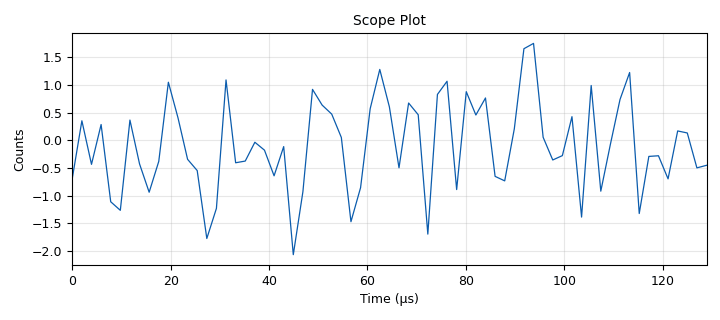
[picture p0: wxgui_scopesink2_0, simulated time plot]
<?xml version='1.0' encoding='utf-8'?>
<?grc format='1' created='3.7.11'?>
<flow_graph>
<block>
<key>options</key>
<param><key>id</key><value>top_block</value></param>
<param><key>generate_options</key><value>wx_gui</value></param>
</block>
<block>
<key>variable_slider</key>
<param><key>id</key><value>Am_s</value></param>
<param><key>converver</key><value>float_converter</value></param>
<param><key>value</key><value>1.25893</value></param>
<param><key>label</key><value></value></param>
<param><key>max</key><value>50</value></param>
<param><key>min</key><value>0</value></param>
<param><key>num_steps</key><value>100</value></param>
<param><key>style</key><value>wx.SL_HORIZONTAL</value></param>
</block>
<block>
<key>variable</key>
<param><key>id</key><value>Am_sig</value></param>
<param><key>value</key><value>Am_s</value></param>
</block>
<block>
<key>variable</key>
<param><key>id</key><value>Ind</value></param>
<param><key>value</key><value>Ind_s</value></param>
</block>
<block>
<key>variable_chooser</key>
<param><key>id</key><value>Ind_s</value></param>
<param><key>choices</key><value>[0, 1]</value></param>
<param><key>value</key><value>0</value></param>
<param><key>label</key><value></value></param>
<param><key>labels</key><value>[]</value></param>
<param><key>style</key><value>wx.RA_HORIZONTAL</value></param>
<param><key>type</key><value>drop_down</value></param>
</block>
<block>
<key>variable</key>
<param><key>id</key><value>samp_rate</value></param>
<param><key>value</key><value>512000</value></param>
</block>
<block>
<key>analog_noise_source_x</key>
<param><key>id</key><value>analog_noise_source_x_0</value></param>
<param><key>amp</key><value>1</value></param>
<param><key>noise_type</key><value>analog.GR_GAUSSIAN</value></param>
<param><key>type</key><value>float</value></param>
<param><key>seed</key><value>0</value></param>
</block>
<block>
<key>analog_sig_source_x</key>
<param><key>id</key><value>analog_sig_source_x_0</value></param>
<param><key>amp</key><value>1</value></param>
<param><key>freq</key><value>30000</value></param>
<param><key>offset</key><value>0</value></param>
<param><key>type</key><value>float</value></param>
<param><key>samp_rate</key><value>samp_rate</value></param>
<param><key>waveform</key><value>analog.GR_COS_WAVE</value></param>
</block>
<block>
<key>analog_sig_source_x</key>
<param><key>id</key><value>analog_sig_source_x_0_0</value></param>
<param><key>amp</key><value>1</value></param>
<param><key>freq</key><value>1000</value></param>
<param><key>offset</key><value>0</value></param>
<param><key>type</key><value>float</value></param>
<param><key>samp_rate</key><value>samp_rate</value></param>
<param><key>waveform</key><value>analog.GR_COS_WAVE</value></param>
</block>
<block>
<key>blks2_selector</key>
<param><key>id</key><value>blks2_selector_0</value></param>
<param><key>input_index</key><value>Ind</value></param>
<param><key>num_inputs</key><value>2</value></param>
<param><key>num_outputs</key><value>1</value></param>
<param><key>output_index</key><value>0</value></param>
<param><key>type</key><value>float</value></param>
<param><key>vlen</key><value>1</value></param>
</block>
<block>
<key>blocks_add_const_vxx</key>
<param><key>id</key><value>blocks_add_const_vxx_0</value></param>
<param><key>const</key><value>1</value></param>
<param><key>type</key><value>float</value></param>
</block>
<block>
<key>blocks_add_xx</key>
<param><key>id</key><value>blocks_add_xx_0</value></param>
<param><key>type</key><value>float</value></param>
</block>
<block>
<key>blocks_multiply_const_vxx</key>
<param><key>id</key><value>blocks_multiply_const_vxx_0</value></param>
<param><key>const</key><value>Am_sig</value></param>
<param><key>type</key><value>float</value></param>
</block>
<block>
<key>blocks_multiply_xx</key>
<param><key>id</key><value>blocks_multiply_xx_0</value></param>
<param><key>type</key><value>float</value></param>
</block>
<block>
<key>wxgui_fftsink2</key>
<param><key>id</key><value>wxgui_fftsink2_0</value></param>
<param><key>avg_alpha</key><value>0</value></param>
<param><key>average</key><value>False</value></param>
<param><key>baseband_freq</key><value>0</value></param>
<param><key>_enabled</key><value>0</value></param>
<param><key>fft_size</key><value>1024</value></param>
<param><key>freqvar</key><value>None</value></param>
<param><key>peak_hold</key><value>False</value></param>
<param><key>ref_level</key><value>0</value></param>
<param><key>ref_scale</key><value>2.0</value></param>
<param><key>fft_rate</key><value>15</value></param>
<param><key>samp_rate</key><value>samp_rate</value></param>
<param><key>title</key><value>FFT Plot</value></param>
<param><key>type</key><value>float</value></param>
<param><key>win</key><value>None</value></param>
<param><key>y_divs</key><value>10</value></param>
<param><key>y_per_div</key><value>10</value></param>
</block>
<block>
<key>wxgui_scopesink2</key>
<param><key>id</key><value>wxgui_scopesink2_0</value></param>
<param><key>ac_couple</key><value>False</value></param>
<param><key>num_inputs</key><value>1</value></param>
<param><key>samp_rate</key><value>samp_rate</value></param>
<param><key>t_scale</key><value>0</value></param>
<param><key>title</key><value>Scope Plot</value></param>
<param><key>trig_mode</key><value>wxgui.TRIG_MODE_AUTO</value></param>
<param><key>type</key><value>float</value></param>
<param><key>v_offset</key><value>0</value></param>
<param><key>v_scale</key><value>0</value></param>
<param><key>xy_mode</key><value>False</value></param>
<param><key>y_axis_label</key><value>Counts</value></param>
</block>
<connection><source_block_id>analog_noise_source_x_0</source_block_id><sink_block_id>blocks_add_xx_0</sink_block_id><source_key>0</source_key><sink_key>1</sink_key></connection>
<connection><source_block_id>analog_sig_source_x_0</source_block_id><sink_block_id>blocks_multiply_xx_0</sink_block_id><source_key>0</source_key><sink_key>0</sink_key></connection>
<connection><source_block_id>analog_sig_source_x_0_0</source_block_id><sink_block_id>blocks_add_const_vxx_0</sink_block_id><source_key>0</source_key><sink_key>0</sink_key></connection>
<connection><source_block_id>blks2_selector_0</source_block_id><sink_block_id>wxgui_fftsink2_0</sink_block_id><source_key>0</source_key><sink_key>0</sink_key></connection>
<connection><source_block_id>blks2_selector_0</source_block_id><sink_block_id>wxgui_scopesink2_0</sink_block_id><source_key>0</source_key><sink_key>0</sink_key></connection>
<connection><source_block_id>blocks_add_const_vxx_0</source_block_id><sink_block_id>blocks_multiply_xx_0</sink_block_id><source_key>0</source_key><sink_key>1</sink_key></connection>
<connection><source_block_id>blocks_add_xx_0</source_block_id><sink_block_id>blks2_selector_0</sink_block_id><source_key>0</source_key><sink_key>0</sink_key></connection>
<connection><source_block_id>blocks_multiply_const_vxx_0</source_block_id><sink_block_id>blks2_selector_0</sink_block_id><source_key>0</source_key><sink_key>1</sink_key></connection>
<connection><source_block_id>blocks_multiply_const_vxx_0</source_block_id><sink_block_id>blocks_add_xx_0</sink_block_id><source_key>0</source_key><sink_key>0</sink_key></connection>
<connection><source_block_id>blocks_multiply_xx_0</source_block_id><sink_block_id>blocks_multiply_const_vxx_0</sink_block_id><source_key>0</source_key><sink_key>0</sink_key></connection>
</flow_graph>
